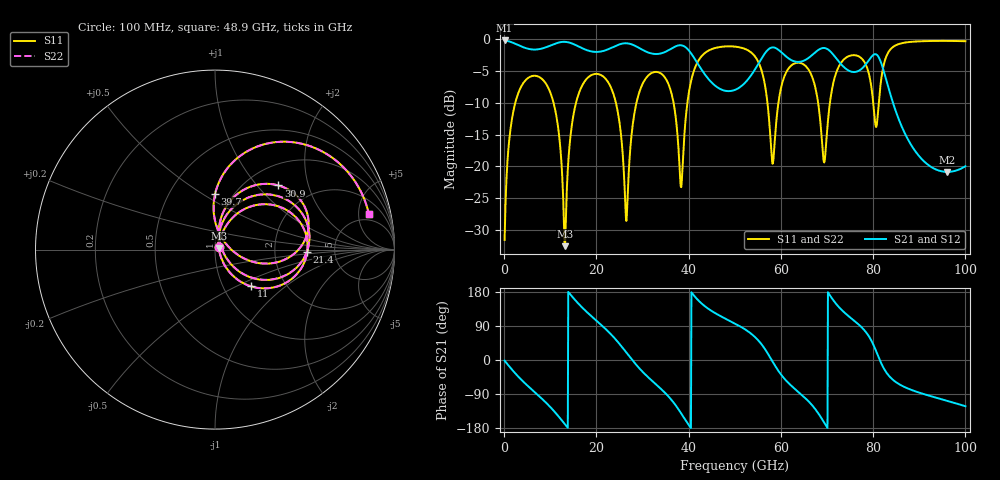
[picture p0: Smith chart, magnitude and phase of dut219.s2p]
! Touchstone file exported from HFSS 2026.1.0
!  File:  C:/ffzhzh/LocalFiles/Ansys_Project_Files/temp_train_TSV_RDL_219_1783662384_29156.aedt
!  Generated:  01:58:39 PM Jul 10, 2026
!  Design:  TSV_RDL
!  Project:  temp_train_TSV_RDL_219_1783662384_29156
! Variables:
!  h_bsmrdl = 2.62um
!  h_ox = 20um
!  h_rdl = 5um
!  h_sub = 85.93um
!  h_tmrdl = 4.44um
!  h_tsv = 85.93um
!  h_via = 3um
!  l_bsmrdl = 560.39um
!  l_sub = 4117.1um
!  l_tmrdl = 479.08um
!  m_sub = 200um
!  pitch = 49.81um
!  r_tsv = 10.87um
!  s_tmrdl = 10um
!  w_bsmrdl = 26.91um
!  w_sub = 500um
!  w_tmrdl = 12.96um
!  x_tsv_center1 = 485.56um
!  x_tsv_center2 = 1072.86um
!  x_tsv_center3 = 1564.9um
!  x_tsv_center4 = 2152.2um
!  x_tsv_center5 = 2644.24um
!  x_tsv_center6 = 3231.54um
# GHz S MA R 50.000000
! Terminal data exported
! Port[1] = TM_RDL1_1_T1
! Port[2] = TM_RDL5_1_T1
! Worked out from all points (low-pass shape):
!   1000 points, 100 MHz to 100 GHz, reference 50 ohm
!   highest |S21| = -0.19 dB at 100 MHz (marker M1); lowest = -20.9 dB at 96.1 GHz (marker M2)
!   |S21| within 3 dB of the highest: start of sweep to 41.41 GHz; 65.46 GHz to 72.21 GHz (6.741 GHz wide, 9.79 % of centre) (the widest 2 of 4)
!   lowest |S11| = -32.5 dB at 13.2 GHz (marker M3), VSWR 1.05, Z = 52.2 + j0.972 ohm
!   |S11| at or under -10 dB: 10.71 GHz to 15.58 GHz (4.869 GHz wide, 37 % of centre); 24.23 GHz to 28.68 GHz (4.457 GHz wide, 16.8 % of centre); 36.73 GHz to 39.73 GHz (2.999 GHz wide, 7.85 % of centre) (the widest 3 of 7)
!   |S22| runs from -33.0 to -0.3 dB; largest |S21 - S12| = 1.6e-11
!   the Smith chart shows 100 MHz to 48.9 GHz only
!   S11 on the Smith chart (normalised r, x): 100 MHz: 1.04, +0.03; 11 GHz: 1.35, -0.60; 21.4 GHz: 3.10, -0.10; 30.9 GHz: 1.37, +1.31; 39.7 GHz: 0.82, +0.57; 48.9 GHz: 3.81, +6.66
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0.1  0.02645 35.3  0.9787 -1.6  0.9787 -1.6  0.02645 35.3
! Gamma 0 0 0 0
! Port Impedance 50 0 50 0
3.5  0.4108 37.1  0.8851 -49.3  0.8851 -49.3  0.4108 37.1
11  0.2857 -45.6  0.9224 -137.5  0.9224 -137.5  0.2857 -45.8
13.2  0.02361 23.2  0.9542 -169.8  0.9542 -169.8  0.02242 23.7
16.8  0.4244 46.4  0.8544 139.9  0.8544 139.9  0.4242 46.6
21.4  0.5122 -1.4  0.8076 88.7  0.8076 88.7  0.5121 -1.2
26.5  0.03731 21.6  0.9301 19.6  0.9301 19.6  0.03827 21.8
30.9  0.5026 45.4  0.7961 -41.8  0.7961 -41.8  0.5027 45.3
33.4  0.5506 20.2  0.7671 -69.6  0.7671 -69.6  0.5507 20.3
38.3  0.06916 27.1  0.8976 -139.4  0.8976 -139.4  0.06987 27.2
39.7  0.3109 89.9  0.8427 -165.7  0.8427 -165.7  0.3111 89.8
48.9  0.8799 13.0  0.3913 103.3  0.3913 103.3  0.8799 13.0
50.1  0.8748 6.2  0.4007 95.8  0.4007 95.8  0.8748 6.2
58.2  0.1049 -5.1  0.8632 -4.3  0.8632 -4.3  0.1061 -5.0
66.7  0.5146 -22.0  0.7475 -118.4  0.7475 -118.4  0.5146 -22.1
69.4  0.1075 15.4  0.8543 -165.4  0.8543 -165.4  0.1061 15.4
72.4  0.5944 44.4  0.6789 142.0  0.6789 142.0  0.5943 44.5
78.2  0.6539 -6.4  0.622 77.1  0.622 77.1  0.6541 -6.4
80.6  0.2043 14.6  0.7624 24.8  0.7624 24.8  0.2042 14.5
83.4  0.8013 36.5  0.4061 -41.4  0.4061 -41.4  0.8011 36.5
96.1  0.9707 -18.3  0.09056 -107.9  0.09056 -107.9  0.9707 -18.2
100  0.9652 -30.7  0.1003 -122.1  0.1003 -122.1  0.9651 -30.6
